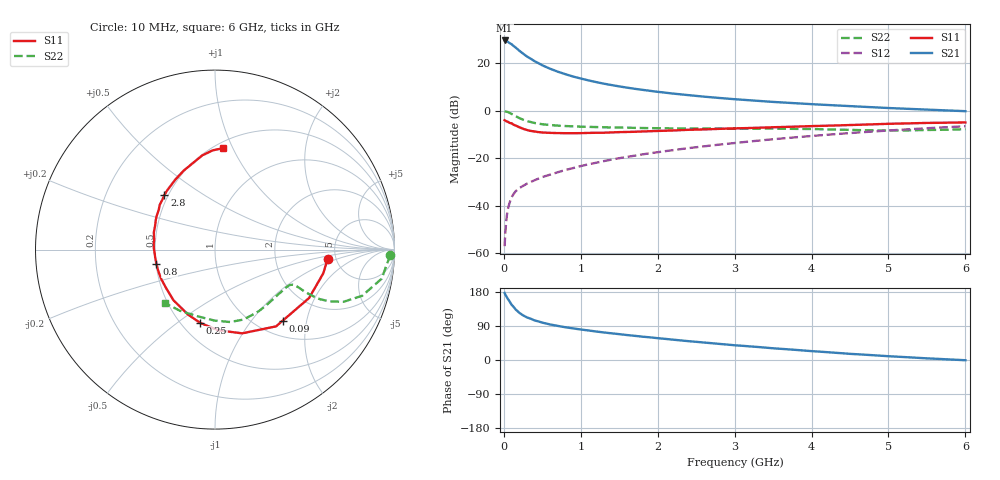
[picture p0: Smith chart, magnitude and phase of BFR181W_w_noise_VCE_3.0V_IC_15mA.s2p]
! Infineon Technologies  Discrete & RF Semiconductors
! BFR181W
! VCE =  3.0 V,  IC =  15 mA
! Common Emitter S-Parameters:  Jan 2017
# GHz  S  MA  R  50
!  f  S11  S21  S12  S22
! GHz  MAG  ANG  MAG  ANG  MAG  ANG  MAG  ANG
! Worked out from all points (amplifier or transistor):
!   77 points, 10 MHz to 6 GHz, reference 50 ohm
!   highest |S21| = 29.6 dB at 10 MHz (marker M1)
!   |S21| within 3 dB of that: start of sweep to 153.8 MHz
!   unconditionally stable (mu >= 1): 648.8 MHz to 2.661 GHz
!   at 130 MHz: K = 0.39, MSG = 31.1 dB, |S12| = -34.9 dB
!   at 2.2 GHz: K = 1.05, MAG = 10.5 dB, |S12| = -16.6 dB
!   at 6 GHz: K = 0.83, MSG = 3.2 dB, |S12| = -6.5 dB
!   lowest NFmin = 1.47 dB at 450 MHz
!   S11 on the Smith chart (normalised r, x): 10 MHz: 4.26, -0.74; 90 MHz: 1.29, -1.45; 250 MHz: 0.62, -0.61; 800 MHz: 0.50, -0.09; 2.8 GHz: 0.48, +0.35; 6 GHz: 0.55, +0.92
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0.01  0.6295 -4.8  30.21 176.8  0.0014 96.6  0.9768 -1.8
0.02  0.6175 -12.4  29.92 172.4  0.0028 100.3  0.9668 -3.7
0.05  0.5896 -27.2  28.53 161.8  0.0081 77.4  0.9426 -9.9
0.09  0.5468 -46.4  25.7 149.5  0.0136 70.8  0.874 -15.9
0.1  0.5465 -51.5  25.2 146.0  0.015 69.9  0.8585 -17.5
0.15  0.4905 -72.0  21.65 134.1  0.0198 65.2  0.773 -22.1
0.2  0.4497 -87.8  18.46 124.7  0.0234 63.5  0.7012 -24.3
0.25  0.4164 -101.5  15.95 117.8  0.0261 60.7  0.6467 -25.3
0.3  0.3919 -112.5  13.9 112.4  0.029 61.3  0.6043 -25.4
0.4  0.3653 -129.1  11.04 104.4  0.0343 62.7  0.5512 -25.1
0.5  0.3473 -141.3  9.049 98.6  0.04 63.9  0.519 -24.5
0.6  0.3416 -151.3  7.679 93.9  0.0449 64.7  0.4998 -24.2
0.8  0.3362 -166.0  5.88 86.4  0.0564 68.6  0.4759 -24.3
0.9  0.336 -171.8  5.252 83.4  0.0618 69.2  0.4678 -24.8
1.1  0.3407 178.8  4.355 77.9  0.0743 71.1  0.4566 -26.1
1.5  0.3539 164.2  3.253 68.2  0.0998 72.1  0.4408 -30.6
2.1  0.3787 147.5  2.398 55.7  0.1407 71.4  0.4258 -40.4
2.8  0.4149 132.7  1.857 42.5  0.193 68.6  0.4211 -54.3
3.1  0.4281 126.9  1.703 37.5  0.2167 66.6  0.419 -60.2
4.1  0.4783 109.9  1.348 22.1  0.3022 59.0  0.4074 -80.6
5.1  0.5341 96.3  1.122 8.9  0.3915 49.4  0.3836 -108.0
6  0.5667 85.6  0.978 -0.6  0.4711 39.7  0.408 -133.5
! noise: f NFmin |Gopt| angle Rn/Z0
0.45  1.47  0.04  14  0.21
0.9  1.52  0.04  31  0.21
1.9  1.95  0.13  -139  0.22
2.4  2.2  0.16  -109  0.28
